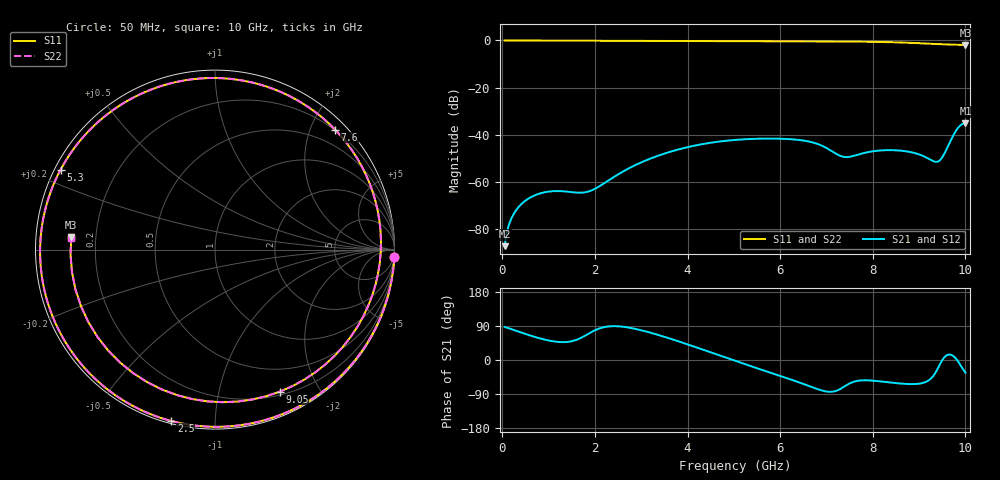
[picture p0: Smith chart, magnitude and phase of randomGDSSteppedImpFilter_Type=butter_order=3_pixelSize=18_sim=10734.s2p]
! freq	dB(S11)	phase(S11)	dB(S12)	phase(S12)
!  dB(S21)	phase(S21)	dB(S22)	phase(S22)
!S-par simulation data
#  GHz  S  DB  R 50
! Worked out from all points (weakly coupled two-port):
!   200 points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, 50 MHz to 10 GHz, reference 50 ohm
!   highest |S21| = -35.09 dB at 10 GHz (marker M1); lowest = -87.3 dB at 50 MHz (marker M2)
!   lowest |S11| = -1.9 dB at 10 GHz (marker M3), VSWR 9.20, Z = 5.44 + j2.14 ohm
!   |S11| at or under -10 dB: nowhere
!   |S22| runs from -1.9 to 0.0 dB; largest |S21 - S12| = 0
!   S11 on the Smith chart (normalised r, x): 50 MHz: 0, -52; 2.5 GHz: 0.01, -0.78; 5.3 GHz: 0.02, +0.24; 7.6 GHz: 0.19, +2.40; 9.05 GHz: 0.23, -1.53; 10 GHz: 0.11, +0.04
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0.05  -0.00 -2.2  -87.33 87.2  -87.33 87.2  -0.00 -2.2
0.1  -0.00 -4.4  -81.33 85.4  -81.33 85.4  -0.00 -4.4
0.35  -0.02 -15.5  -70.76 74.8  -70.76 74.8  -0.02 -15.5
0.65  -0.04 -28.6  -66.21 62.8  -66.21 62.8  -0.04 -28.6
1.05  -0.06 -45.9  -64.05 50.3  -64.05 50.3  -0.06 -45.9
1.75  -0.09 -74.9  -64.56 61.6  -64.56 61.6  -0.09 -74.9
2.5  -0.13 -104.2  -56.86 89.0  -56.86 89.0  -0.13 -104.2
3.4  -0.16 -137.5  -48.69 64.9  -48.69 64.9  -0.16 -137.5
4.25  -0.20 -168.2  -44.27 30.7  -44.27 30.7  -0.20 -168.2
5.05  -0.26 162.2  -42.19 -3.3  -42.19 -3.3  -0.26 162.2
5.3  -0.28 152.6  -41.88 -13.6  -41.88 -13.6  -0.28 152.5
6.1  -0.34 119.9  -41.79 -45.9  -41.79 -45.9  -0.34 119.8
6.7  -0.39 92.6  -43.28 -72.2  -43.28 -72.2  -0.39 92.5
7.35  -0.45 59.2  -49.33 -72.8  -49.33 -72.8  -0.45 59.1
7.6  -0.48 44.9  -48.94 -57.0  -48.94 -57.0  -0.48 44.9
8  -0.58 20.0  -47.05 -54.5  -47.05 -54.5  -0.58 19.9
8.35  -0.72 -4.5  -46.56 -59.1  -46.56 -59.1  -0.72 -4.6
8.7  -0.92 -32.6  -47.01 -63.1  -47.01 -63.1  -0.92 -32.7
9.05  -1.21 -65.5  -48.73 -61.4  -48.73 -61.4  -1.21 -65.5
9.45  -1.58 -110.9  -50.87 -11.5  -50.87 -11.5  -1.58 -110.8
9.75  -1.80 -150.3  -39.95 9.4  -39.95 9.4  -1.80 -150.1
10  -1.90 175.0  -35.09 -33.9  -35.09 -33.9  -1.89 175.3
